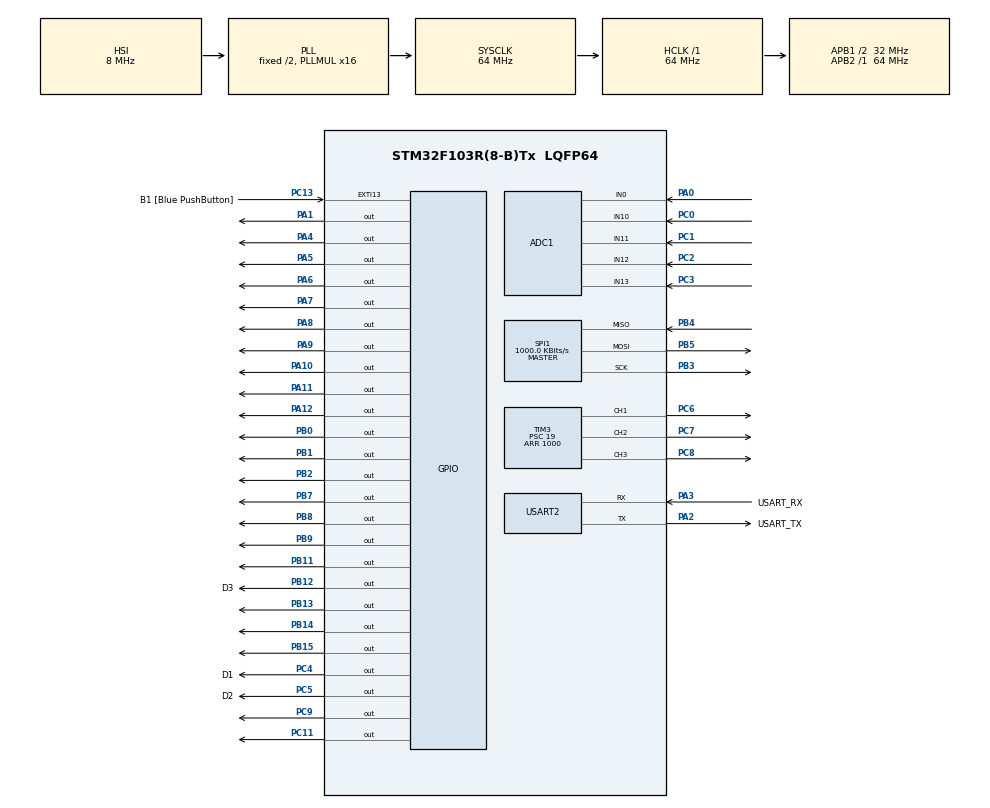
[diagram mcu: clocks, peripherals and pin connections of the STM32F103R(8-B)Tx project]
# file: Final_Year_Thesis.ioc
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ADC1.Channel-0\#ChannelRegularConversion=ADC_CHANNEL_10
ADC1.Channel-1\#ChannelRegularConversion=ADC_CHANNEL_11
ADC1.Channel-2\#ChannelRegularConversion=ADC_CHANNEL_12
ADC1.Channel-3\#ChannelRegularConversion=ADC_CHANNEL_13
ADC1.Channel-4\#ChannelRegularConversion=ADC_CHANNEL_0
ADC1.ContinuousConvMode=ENABLE
ADC1.NbrOfConversion=5
ADC1.NbrOfConversionFlag=1
ADC1.Rank-0\#ChannelRegularConversion=1
ADC1.Rank-1\#ChannelRegularConversion=2
ADC1.Rank-2\#ChannelRegularConversion=3
ADC1.Rank-3\#ChannelRegularConversion=4
ADC1.Rank-4\#ChannelRegularConversion=5
ADC1.SamplingTime-0\#ChannelRegularConversion=ADC_SAMPLETIME_1CYCLE_5
ADC1.SamplingTime-1\#ChannelRegularConversion=ADC_SAMPLETIME_1CYCLE_5
ADC1.SamplingTime-2\#ChannelRegularConversion=ADC_SAMPLETIME_1CYCLE_5
ADC1.SamplingTime-3\#ChannelRegularConversion=ADC_SAMPLETIME_1CYCLE_5
ADC1.SamplingTime-4\#ChannelRegularConversion=ADC_SAMPLETIME_1CYCLE_5
ADC1.master=1
Mcu.Family=STM32F1
Mcu.Name=STM32F103R(8-B)Tx
Mcu.Package=LQFP64
NVIC.EXTI15_10_IRQn=true\:0\:0\:false\:false\:true\:true\:true
NVIC.PriorityGroup=NVIC_PRIORITYGROUP_4
NVIC.SPI1_IRQn=true\:0\:0\:false\:false\:true\:true\:true
PA0-WKUP.Signal=ADCx_IN0
PA1.Signal=GPIO_Output
PA10.Signal=GPIO_Output
PA11.Signal=GPIO_Output
PA12.Signal=GPIO_Output
PA13.GPIO_Label=TMS
PA13.Mode=Serial_Wire
PA13.Signal=SYS_JTMS-SWDIO
PA14.GPIO_Label=TCK
PA14.Mode=Serial_Wire
PA14.Signal=SYS_JTCK-SWCLK
PA2.GPIO_Label=USART_TX
PA2.GPIO_Mode=GPIO_MODE_AF_PP
PA2.GPIO_PuPd=GPIO_NOPULL
PA2.GPIO_Speed=GPIO_SPEED_FREQ_LOW
PA2.Mode=Asynchronous
PA2.Signal=USART2_TX
PA3.GPIO_Label=USART_RX
PA3.GPIO_Mode=GPIO_MODE_AF_PP
PA3.GPIO_PuPd=GPIO_NOPULL
PA3.GPIO_Speed=GPIO_SPEED_FREQ_LOW
PA3.Mode=Asynchronous
PA3.Signal=USART2_RX
PA4.Signal=GPIO_Output
PA5.Signal=GPIO_Output
PA6.Signal=GPIO_Output
PA7.Signal=GPIO_Output
PA8.Signal=GPIO_Output
PA9.Signal=GPIO_Output
PB0.Signal=GPIO_Output
PB1.Signal=GPIO_Output
PB11.Signal=GPIO_Output
PB12.GPIO_Label=D3
PB12.Signal=GPIO_Output
PB13.Signal=GPIO_Output
PB14.Signal=GPIO_Output
PB15.Signal=GPIO_Output
PB2.Signal=GPIO_Output
PB3.Mode=Full_Duplex_Master
PB3.Signal=SPI1_SCK
PB4.Mode=Full_Duplex_Master
PB4.Signal=SPI1_MISO
PB5.Mode=Full_Duplex_Master
PB5.Signal=SPI1_MOSI
PB7.Signal=GPIO_Output
PB8.Signal=GPIO_Output
PB9.Signal=GPIO_Output
PC0.Signal=ADCx_IN10
PC1.Signal=ADCx_IN11
PC11.Signal=GPIO_Output
PC13-TAMPER-RTC.GPIO_Label=B1 [Blue PushButton]
PC13-TAMPER-RTC.GPIO_PuPd=GPIO_NOPULL
PC13-TAMPER-RTC.Signal=GPXTI13
PC14-OSC32_IN.Mode=LSE-External-Oscillator
PC14-OSC32_IN.Signal=RCC_OSC32_IN
PC15-OSC32_OUT.Mode=LSE-External-Oscillator
PC15-OSC32_OUT.Signal=RCC_OSC32_OUT
PC2.Signal=ADCx_IN12
PC3.Signal=ADCx_IN13
PC4.GPIO_Label=D1
PC4.Signal=GPIO_Output
PC5.GPIO_Label=D2
PC5.Signal=GPIO_Output
PC6.Signal=S_TIM3_CH1
PC7.Signal=S_TIM3_CH2
PC8.Signal=S_TIM3_CH3
PC9.Signal=GPIO_Output
PD0-OSC_IN.Mode=HSE-External-Clock-Source
PD0-OSC_IN.Signal=RCC_OSC_IN
PD1-OSC_OUT.Mode=HSE-External-Clock-Source
PD1-OSC_OUT.Signal=RCC_OSC_OUT
ProjectManager.HeapSize=0x200
ProjectManager.StackSize=0x400
ProjectManager.TargetToolchain=STM32CubeIDE
RCC.AHBFreq_Value=64000000
RCC.APB1CLKDivider=RCC_HCLK_DIV2
RCC.APB1Freq_Value=32000000
RCC.APB1TimFreq_Value=64000000
RCC.APB2Freq_Value=64000000
RCC.APB2TimFreq_Value=64000000
RCC.HCLKFreq_Value=64000000
RCC.PLLMUL=RCC_PLL_MUL16
RCC.RTCClockSelection=RCC_RTCCLKSOURCE_LSE
RCC.SYSCLKFreq_VALUE=64000000
RCC.SYSCLKSource=RCC_SYSCLKSOURCE_PLLCLK
RCC.USBFreq_Value=64000000
SH.ADCx_IN0.0=ADC1_IN0,IN0
SH.ADCx_IN10.0=ADC1_IN10,IN10
SH.ADCx_IN11.0=ADC1_IN11,IN11
SH.ADCx_IN12.0=ADC1_IN12,IN12
SH.ADCx_IN13.0=ADC1_IN13,IN13
SH.S_TIM3_CH1.0=TIM3_CH1,PWM Generation1 CH1
SH.S_TIM3_CH2.0=TIM3_CH2,PWM Generation2 CH2
SH.S_TIM3_CH3.0=TIM3_CH3,PWM Generation3 CH3
SPI1.BaudRatePrescaler=SPI_BAUDRATEPRESCALER_64
SPI1.CalculateBaudRate=1000.0 KBits/s
SPI1.Direction=SPI_DIRECTION_2LINES
SPI1.Mode=SPI_MODE_MASTER
SPI1.VirtualType=VM_MASTER
TIM3.Channel-PWM\ Generation1\ CH1=TIM_CHANNEL_1
TIM3.Channel-PWM\ Generation2\ CH2=TIM_CHANNEL_2
TIM3.Channel-PWM\ Generation3\ CH3=TIM_CHANNEL_3
TIM3.Period=1000
TIM3.Prescaler=19
TIM3.Pulse-PWM\ Generation1\ CH1=500
TIM3.Pulse-PWM\ Generation2\ CH2=500
TIM3.Pulse-PWM\ Generation3\ CH3=500
USART2.VirtualMode=VM_ASYNC
VP_TIM3_VS_ClockSourceINT.Mode=Internal
board=NUCLEO-F103RB

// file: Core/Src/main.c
/* USER CODE BEGIN Header */
/**
  ******************************************************************************
  * @file           : main.c
  * @brief          : Main program body
  ******************************************************************************
  * @attention
  *
  * <h2><center>&copy; Copyright (c) 2021 STMicroelectronics.
  * All rights reserved.</center></h2>
  *
  * This software component is licensed by ST under BSD 3-Clause license,
  * the "License"; You may not use this file except in compliance with the
  * License. You may obtain a copy of the License at:
  *                        opensource.org/licenses/BSD-3-Clause
  *
  ******************************************************************************
  */
/* USER CODE END Header */

#include "main.h"

/* USER CODE BEGIN Includes */
#include <stdio.h>
#include <string.h>
#include "MAX31855.h"
/* USER CODE END Includes */

ADC_HandleTypeDef hadc1;

SPI_HandleTypeDef hspi1;

TIM_HandleTypeDef htim3;

UART_HandleTypeDef huart2;

/* USER CODE BEGIN PV */
float temp1=0;	// Variable to get Temperature 1
float temp2=0;	// Variable to get Temperature 2
float temp3=0;	// Variable to get Temperature 3
float temp4=0;	// Variable to get Temperature 4
uint32_t avetemp=0; //Variable to be printed to 7-segment display
uint32_t c1, c2, c3; //temporary variables for 7-segment display
uint32_t setTemp; //user input temperature
uint8_t counter=0; //counter to set position of roller blind
/* USER CODE END PV */

void SystemClock_Config(void);
static void MX_GPIO_Init(void);
static void MX_ADC1_Init(void);
static void MX_SPI1_Init(void);
static void MX_TIM3_Init(void);
static void MX_USART2_UART_Init(void);

/* USER CODE BEGIN 0 */
#define D1_HIGH() HAL_GPIO_WritePin(D1_GPIO_Port, D1_Pin, GPIO_PIN_SET)
#define D1_LOW() HAL_GPIO_WritePin(D1_GPIO_Port, D1_Pin, GPIO_PIN_RESET)
#define D2_HIGH() HAL_GPIO_WritePin(D2_GPIO_Port, D2_Pin, GPIO_PIN_SET)
#define D2_LOW() HAL_GPIO_WritePin(D2_GPIO_Port, D2_Pin, GPIO_PIN_RESET)
#define D3_HIGH() HAL_GPIO_WritePin(D3_GPIO_Port, D3_Pin, GPIO_PIN_SET)
#define D3_LOW() HAL_GPIO_WritePin(D3_GPIO_Port, D3_Pin, GPIO_PIN_RESET)

uint8_t segmentNumber[10] = {
        0x3f,  // 0
        0x06,  // 1
        0x5b,  // 2
        0x4f,  // 3
        0x66,  // 4
        0x6d,  // 5
        0x7d,  // 6
        0x07,  // 7
        0x7f,  // 8
        0x67   // 9
};

void SevenSegment_Update(uint8_t number){
	HAL_GPIO_WritePin(GPIOA, GPIO_PIN_0, ((number>>0)&0x01));
	HAL_GPIO_WritePin(GPIOA, GPIO_PIN_1, ((number>>1)&0x01));
	HAL_GPIO_WritePin(GPIOA, GPIO_PIN_2, ((number>>2)&0x01));
	HAL_GPIO_WritePin(GPIOA, GPIO_PIN_3, ((number>>3)&0x01));
	HAL_GPIO_WritePin(GPIOA, GPIO_PIN_4, ((number>>4)&0x01));
	HAL_GPIO_WritePin(GPIOA, GPIO_PIN_5, ((number>>5)&0x01));
	HAL_GPIO_WritePin(GPIOA, GPIO_PIN_6, ((number>>6)&0x01));
};

void ADC_select_CH10(void)
{
	  ADC_ChannelConfTypeDef sConfig = {0};
	  sConfig.Channel = ADC_CHANNEL_10;
	  sConfig.Rank = ADC_REGULAR_RANK_1;
	  sConfig.SamplingTime = ADC_SAMPLETIME_1CYCLE_5;
	  if (HAL_ADC_ConfigChannel(&hadc1, &sConfig) != HAL_OK)
	  {
	    Error_Handler();
	  }
}

void ADC_select_CH11(void)
{
	ADC_ChannelConfTypeDef sConfig = {0};
	  sConfig.Channel = ADC_CHANNEL_11;
	  sConfig.Rank = ADC_REGULAR_RANK_2;
	  sConfig.SamplingTime = ADC_SAMPLETIME_1CYCLE_5;
	  if (HAL_ADC_ConfigChannel(&hadc1, &sConfig) != HAL_OK)
	  {
	    Error_Handler();
	  }
}

void ADC_select_CH12(void)
{
	ADC_ChannelConfTypeDef sConfig = {0};
	  sConfig.Channel = ADC_CHANNEL_12;
	  sConfig.Rank = ADC_REGULAR_RANK_3;
	  sConfig.SamplingTime = ADC_SAMPLETIME_1CYCLE_5;
	  if (HAL_ADC_ConfigChannel(&hadc1, &sConfig) != HAL_OK)
	  {
	    Error_Handler();
	  }

}

void ADC_select_CH13(void)
{
	ADC_ChannelConfTypeDef sConfig = {0};
	  sConfig.Channel = ADC_CHANNEL_13;
	  sConfig.Rank = ADC_REGULAR_RANK_4;
	  sConfig.SamplingTime = ADC_SAMPLETIME_1CYCLE_5;
	  if (HAL_ADC_ConfigChannel(&hadc1, &sConfig) != HAL_OK)
	  {
	    Error_Handler();
	  }
}

void ADC_select_CH0(void)
{
	ADC_ChannelConfTypeDef sConfig = {0};
	  sConfig.Channel = ADC_CHANNEL_0;
	  sConfig.Rank = ADC_REGULAR_RANK_5;
	  sConfig.SamplingTime = ADC_SAMPLETIME_1CYCLE_5;
	  if (HAL_ADC_ConfigChannel(&hadc1, &sConfig) != HAL_OK)
	  {
	    Error_Handler();
	  }
}

float ADCval[4];

/* USER CODE END 0 */

int main(void)
{
  /* USER CODE BEGIN 1 */
	  uint16_t raw;
  /* USER CODE END 1 */

  /* MCU Configuration--------------------------------------------------------*/

  /* Reset of all peripherals, Initializes the Flash interface and the Systick. */
  HAL_Init();

  /* Configure the system clock */
  SystemClock_Config();

  /* Initialize all configured peripherals */
  MX_GPIO_Init();
  MX_ADC1_Init();
  MX_SPI1_Init();
  MX_TIM3_Init();
  MX_USART2_UART_Init();
  /* USER CODE BEGIN 2 */
	HAL_TIM_Base_Start(&htim3);               //Initialize stm32 timer 3
	HAL_TIM_PWM_Start(&htim3,TIM_CHANNEL_1);  //PB0 Start pwm temp motor 100% duty cycle
	HAL_TIM_PWM_Start(&htim3,TIM_CHANNEL_2);  //PB0 Start pwm pitch motor 100% duty cycle
	HAL_TIM_PWM_Start(&htim3,TIM_CHANNEL_3);  //PB0 Start pwm azimuth motor 100% duty cycle

  /* USER CODE END 2 */

  /* Infinite loop */
  /* USER CODE BEGIN WHILE */
  while (1)
  { //-----------------------------------------------------------------------------------------read temperatures from thermocouple-------------
	  temp1=Max31855_Read_Temp1(); 			// Gets Temperature 1 from MAX31855
	  temp2=Max31855_Read_Temp2(); 			// Gets Temperature 2 from MAX31855
	  temp3=Max31855_Read_Temp3(); 			// Gets Temperature 3 from MAX31855
	  temp4=Max31855_Read_Temp4(); 			// Gets Temperature 4 from MAX31855
	  avetemp = (temp1+temp2+temp3+temp4)/4; //determine average temperature from 4 MAX31855 units to be displayed on 7-segment display
	  //--------------------------------------------------------------------------------------end read temperatures------------------------------

	  //---------------------------------------------------------------------------Display Temp on LED------------------------------
	  c1 = (avetemp/100)%10; //first digit
	  c2 = (avetemp/10)%10; //second digit
	  c3 = avetemp%10; //third digit

	  	  SevenSegment_Update(segmentNumber[c1]); //note common cathode 7-segment display therefore must pull D1, D2 and D3 from low to high to write to the display
	  	  D1_LOW();
	  	  HAL_Delay(7);
	  	  D1_HIGH();

	  	  SevenSegment_Update(segmentNumber[c2]);
	  	  D2_LOW();
	  	  HAL_Delay(7);
	  	  D2_HIGH();

	  	  SevenSegment_Update(segmentNumber[c3]);
	  	  D3_LOW();
	  	  HAL_Delay(7);
	  	  D3_HIGH();
	  //--------------------------------------------------------------------------End of LED display-------------------------------

	  //-----------------------------------------------------------------------------read user input from potentiometer------
	   ADC_select_CH10();
	   HAL_ADC_Start(&hadc1);
	   HAL_ADC_PollForConversion(&hadc1, HAL_MAX_DELAY);
	   raw = HAL_ADC_GetValue(&hadc1);
	   HAL_ADC_Stop(&hadc1);

	   //the following are the 10 temperature intervals the device can be set to by the user
	   if(raw > 0 && raw < 409.5)
	   {
		   setTemp = 45;
	   }
	   else if(raw > 409.5 && raw < 819)
	   {
		   setTemp = 60;
	   }
	   else if(raw > 819 && raw < 1228.5)
	   	   {
	   		   setTemp = 75;
	   	   }
	   else if(raw > 1228.5 && raw < 1638)
	   	   {
	   		   setTemp = 90;
	   	   }
	   else if(raw > 1638 && raw < 2047.5)
	   	   {
	   		   setTemp = 105;
	   	   }
	   else if(raw > 2047.5 && raw < 2457)
	   	   {
	   		   setTemp = 120;
	   	   }
	   else if(raw > 2457 && raw < 2866.5)
	   	   {
	   		   setTemp = 135;
	   	   }
	   else if(raw > 2866.5 && raw < 3276)
	   	   {
	   		   setTemp = 150;
	   	   }
	   else if(raw > 3276 && raw < 3685.5)
	   	   {
	   		   setTemp = 165;
	   	   }
	   else if(raw > 3685.5 && raw < 4095)
	   	   {
	   		   setTemp = 180;
	   	   }
	  //----------------------------------------------------------------------------------end user input----------------

	   //---------------------------------------------------------------------------------get tracking value-------------------------------
	   	   ADC_select_CH11(); //upper right LDR
	   	   HAL_ADC_Start(&hadc1);
	   	   HAL_ADC_PollForConversion(&hadc1, HAL_MAX_DELAY);
	   	   ADCval[0] = HAL_ADC_GetValue(&hadc1);
	   	   HAL_ADC_Stop(&hadc1);

	   	   ADC_select_CH12(); //upper left LDR
	   	   HAL_ADC_Start(&hadc1);
	   	   HAL_ADC_PollForConversion(&hadc1, HAL_MAX_DELAY);
	   	   ADCval[1] = HAL_ADC_GetValue(&hadc1);
	   	   HAL_ADC_Stop(&hadc1);

	   		ADC_select_CH13(); //lower right LDR
	   		HAL_ADC_Start(&hadc1);
	   		HAL_ADC_PollForConversion(&hadc1, HAL_MAX_DELAY);
	   		ADCval[2] = HAL_ADC_GetValue(&hadc1);
	   		HAL_ADC_Stop(&hadc1);

	   		ADC_select_CH0(); //lower left LDR
	   		HAL_ADC_Start(&hadc1);
	   		HAL_ADC_PollForConversion(&hadc1, HAL_MAX_DELAY);
	   		ADCval[3] = HAL_ADC_GetValue(&hadc1);
	   		HAL_ADC_Stop(&hadc1);

	   		if(ADCval[0] > 1000) //--------------------------- //upper right is in shadow therefore move down and/or left
	   		{
	   			if(ADCval[1] > 1000) //both upper LDRs in shadow therefore tilt down
	   			{
	   				__HAL_TIM_SET_COMPARE(&htim3,TIM_CHANNEL_2,25); //Second motor 25% voltage
		   			 HAL_GPIO_WritePin(GPIOA,GPIO_PIN_10,GPIO_PIN_RESET);   // Start pitch motor clock wise rotation
		   			 HAL_GPIO_WritePin(GPIOA,GPIO_PIN_9,GPIO_PIN_SET); // Start pitch motor clock wise rotation
		   			HAL_Delay(500);
		   			HAL_GPIO_WritePin(GPIOA,GPIO_PIN_9,GPIO_PIN_RESET); // Stop pitch motor clock wise rotation
	   			}

	   			else if(ADCVal[2] > 1000) //both right are in shadow therefore move left
	   			{
	   				__HAL_TIM_SET_COMPARE(&htim3,TIM_CHANNEL_3,25); //Second motor 25% voltage
		   			 HAL_GPIO_WritePin(GPIOA,GPIO_PIN_12,GPIO_PIN_RESET);   // Start azimuth motor clock wise rotation
		   			 HAL_GPIO_WritePin(GPIOA,GPIO_PIN_11,GPIO_PIN_SET); // Start azimuth motor clock wise rotation
		   			HAL_Delay(500);
		   			HAL_GPIO_WritePin(GPIOA,GPIO_PIN_11,GPIO_PIN_RESET); // Stop azimuth motor clock wise rotation
	   			}
	   		}

	   		if(ADCval[1] > 1000) //---------------------------------//upper left is in shadow therefore move down and/or right
	   		{
	   			if(ADCval[0] > 1000) //both upper LDRs in shadow therefore tilt down
	   			{
	   				__HAL_TIM_SET_COMPARE(&htim3,TIM_CHANNEL_2,25); //Second motor 25% voltage
		   			 HAL_GPIO_WritePin(GPIOA,GPIO_PIN_10,GPIO_PIN_RESET);   // Start pitch motor clock wise rotation
		   			 HAL_GPIO_WritePin(GPIOA,GPIO_PIN_9,GPIO_PIN_SET); // Start pitch motor clock wise rotation
		   			HAL_Delay(500);
		   			HAL_GPIO_WritePin(GPIOA,GPIO_PIN_9,GPIO_PIN_RESET); // Stop pitch motor clock wise rotation
	   			}

	   			else if(ADCVal[3] > 1000) //both left are in shadow therefore move left
	   			{
	   				__HAL_TIM_SET_COMPARE(&htim3,TIM_CHANNEL_3,25); //Second motor 25% voltage
		   			 HAL_GPIO_WritePin(GPIOA,GPIO_PIN_12,GPIO_PIN_RESET);   // Start azimuth motor clock wise rotation
		   			 HAL_GPIO_WritePin(GPIOA,GPIO_PIN_11,GPIO_PIN_SET); // Start azimuth motor clock wise rotation
			   			HAL_Delay(500);
			   			HAL_GPIO_WritePin(GPIOA,GPIO_PIN_11,GPIO_PIN_RESET); // Stop azimuth motor clock wise rotation
	   			}
	   		}

	   		if(ADCval[2] > 1000) //---------------------------------//lower right is in shadow therefore move up and/or left
	   		{
	   			if(ADCval[0] > 1000) //both right in shadow therefore move left
	   			{
	   				__HAL_TIM_SET_COMPARE(&htim3,TIM_CHANNEL_3,25); //Second motor 25% voltage
		   			 HAL_GPIO_WritePin(GPIOA,GPIO_PIN_12,GPIO_PIN_RESET);   // Start azimuth motor clock wise rotation
		   			 HAL_GPIO_WritePin(GPIOA,GPIO_PIN_11,GPIO_PIN_SET); // Start azimuth motor clock wise rotation
			   			HAL_Delay(500);
			   			HAL_GPIO_WritePin(GPIOA,GPIO_PIN_11,GPIO_PIN_RESET); // Stop azimuth motor clock wise rotation
	   			}

	   			else if(ADCVal[2] > 1000) //both lower are in shadow therefore move up
	   			{
	   				__HAL_TIM_SET_COMPARE(&htim3,TIM_CHANNEL_2,25); //Second motor 25% voltage
		   			 HAL_GPIO_WritePin(GPIOA,GPIO_PIN_10,GPIO_PIN_SET);   // Start pitch motor clock wise rotation
		   			 HAL_GPIO_WritePin(GPIOA,GPIO_PIN_9,GPIO_PIN_RESET); // Start pitch motor clock wise rotation
			   			HAL_Delay(500);
			   			HAL_GPIO_WritePin(GPIOA,GPIO_PIN_9,GPIO_PIN_RESET); // Stop pitch motor clock wise rotation
	   			}
	   		}

	   		if(ADCval[3] > 1000) //---------------------------------//lower left is in shadow therefore move up and/or right
	   		{
	   			if(ADCval[1] > 1000) //both left in shadow therefore move right
	   			{
		   			 HAL_GPIO_WritePin(GPIOA,GPIO_PIN_12,GPIO_PIN_SET);   // Start azimuth motor counter clock wise rotation
		   			 HAL_GPIO_WritePin(GPIOA,GPIO_PIN_11,GPIO_PIN_RESET); // Start azimuth motor counter clock wise rotation
		   			HAL_Delay(500);
		   			HAL_GPIO_WritePin(GPIOA,GPIO_PIN_12,GPIO_PIN_RESET);   // Stop azimuth motor counter clock wise rotation
	   			}

	   			else if(ADCVal[2] > 1000) //both lower are in shadow therefore move up
	   			{
		   			 HAL_GPIO_WritePin(GPIOA,GPIO_PIN_10,GPIO_PIN_SET);   // Start pitch motor counter clock wise rotation
		   			 HAL_GPIO_WritePin(GPIOA,GPIO_PIN_9,GPIO_PIN_RESET); // Start pitch motor counter clock wise rotation
			   		HAL_Delay(500);
			   		HAL_GPIO_WritePin(GPIOA,GPIO_PIN_10,GPIO_PIN_RESET); // Stop pitch motor counter clock wise rotation
	   			}
	   		}

	   //---------------------------------------------------------------------------------temperature control motor-----------------
	   if(avetemp = setTemp-3) //temperature reaches lower bound
	   {
 			 HAL_GPIO_WritePin(GPIOA,GPIO_PIN_8,GPIO_PIN_RESET);   // Start temp motor CCW rotation
 			 HAL_GPIO_WritePin(GPIOC,GPIO_PIN_9,GPIO_PIN_SET); // Start temp motor CCW rotation
 			 HAL_Delay(20000);
 			HAL_GPIO_WritePin(GPIOC,GPIO_PIN_9,GPIO_PIN_RESET);   // Stop temp motor CCW rotation
 			 counter = 1; //say that blind is halfway down
	   }

	   else if(avetemp = setTemp+3 && counter != 2) //temperature reaches upper bound
	   {
 			 HAL_GPIO_WritePin(GPIOA,GPIO_PIN_8,GPIO_PIN_RESET);   // Start temp motor CCW rotation
 			 HAL_GPIO_WritePin(GPIOC,GPIO_PIN_9,GPIO_PIN_SET); // Start temp motor CCW rotation
 			 HAL_Delay(20000);
 			HAL_GPIO_WritePin(GPIOC,GPIO_PIN_9,GPIO_PIN_RESET);   // Stop temp motor CCW rotation
 			 counter = 2; //say that blind is at the bottom
	   }
	   else if(avetemp < setTemp-3 && counter != 0)
	   {
			 HAL_GPIO_WritePin(GPIOA,GPIO_PIN_8,GPIO_PIN_SET);   // Start temp motor CW rotation
			 HAL_GPIO_WritePin(GPIOC,GPIO_PIN_9,GPIO_PIN_RESET); // Start temp motor CW rotation
			 HAL_Delay(40000);
			 HAL_GPIO_WritePin(GPIOA,GPIO_PIN_8,GPIO_PIN_RESET); // Stop temp motor CW rotation
	   }
	   //----------------------------------------------------------------------------------end of temperature control motor--------------

    /* USER CODE END WHILE */

  }
}

void SystemClock_Config(void)
{
  RCC_OscInitTypeDef RCC_OscInitStruct = {0};
  RCC_ClkInitTypeDef RCC_ClkInitStruct = {0};
  RCC_PeriphCLKInitTypeDef PeriphClkInit = {0};

  /** Initializes the CPU, AHB and APB busses clocks
  */
  RCC_OscInitStruct.OscillatorType = RCC_OSCILLATORTYPE_HSI;
  RCC_OscInitStruct.HSIState = RCC_HSI_ON;
  RCC_OscInitStruct.HSICalibrationValue = RCC_HSICALIBRATION_DEFAULT;
  RCC_OscInitStruct.PLL.PLLState = RCC_PLL_ON;
  RCC_OscInitStruct.PLL.PLLSource = RCC_PLLSOURCE_HSI_DIV2;
  RCC_OscInitStruct.PLL.PLLMUL = RCC_PLL_MUL16;
  if (HAL_RCC_OscConfig(&RCC_OscInitStruct) != HAL_OK)
  {
    Error_Handler();
  }
  /** Initializes the CPU, AHB and APB busses clocks
  */
  RCC_ClkInitStruct.ClockType = RCC_CLOCKTYPE_HCLK|RCC_CLOCKTYPE_SYSCLK
                              |RCC_CLOCKTYPE_PCLK1|RCC_CLOCKTYPE_PCLK2;
  RCC_ClkInitStruct.SYSCLKSource = RCC_SYSCLKSOURCE_PLLCLK;
  RCC_ClkInitStruct.AHBCLKDivider = RCC_SYSCLK_DIV1;
  RCC_ClkInitStruct.APB1CLKDivider = RCC_HCLK_DIV2;
  RCC_ClkInitStruct.APB2CLKDivider = RCC_HCLK_DIV1;

  if (HAL_RCC_ClockConfig(&RCC_ClkInitStruct, FLASH_LATENCY_2) != HAL_OK)
  {
    Error_Handler();
  }
  PeriphClkInit.PeriphClockSelection = RCC_PERIPHCLK_ADC;
  PeriphClkInit.AdcClockSelection = RCC_ADCPCLK2_DIV2;
  if (HAL_RCCEx_PeriphCLKConfig(&PeriphClkInit) != HAL_OK)
  {
    Error_Handler();
  }
}

static void MX_ADC1_Init(void)
{

  ADC_ChannelConfTypeDef sConfig = {0};

  /** Common config
  */
  hadc1.Instance = ADC1;
  hadc1.Init.ScanConvMode = ADC_SCAN_ENABLE;
  hadc1.Init.ContinuousConvMode = ENABLE;
  hadc1.Init.DiscontinuousConvMode = DISABLE;
  hadc1.Init.ExternalTrigConv = ADC_SOFTWARE_START;
  hadc1.Init.DataAlign = ADC_DATAALIGN_RIGHT;
  hadc1.Init.NbrOfConversion = 5;
  if (HAL_ADC_Init(&hadc1) != HAL_OK)
  {
    Error_Handler();
  }
  /** Configure Regular Channel
  */
  sConfig.Channel = ADC_CHANNEL_10;
  sConfig.Rank = ADC_REGULAR_RANK_1;
  sConfig.SamplingTime = ADC_SAMPLETIME_1CYCLE_5;
  if (HAL_ADC_ConfigChannel(&hadc1, &sConfig) != HAL_OK)
  {
    Error_Handler();
  }
  /** Configure Regular Channel
  */
  sConfig.Channel = ADC_CHANNEL_11;
  sConfig.Rank = ADC_REGULAR_RANK_2;
  if (HAL_ADC_ConfigChannel(&hadc1, &sConfig) != HAL_OK)
  {
    Error_Handler();
  }
  /** Configure Regular Channel
  */
  sConfig.Channel = ADC_CHANNEL_12;
  sConfig.Rank = ADC_REGULAR_RANK_3;
  if (HAL_ADC_ConfigChannel(&hadc1, &sConfig) != HAL_OK)
  {
    Error_Handler();
  }
  /** Configure Regular Channel
  */
  sConfig.Channel = ADC_CHANNEL_13;
  sConfig.Rank = ADC_REGULAR_RANK_4;
  if (HAL_ADC_ConfigChannel(&hadc1, &sConfig) != HAL_OK)
  {
    Error_Handler();
  }
  /** Configure Regular Channel
  */
  sConfig.Channel = ADC_CHANNEL_0;
  sConfig.Rank = ADC_REGULAR_RANK_5;
  if (HAL_ADC_ConfigChannel(&hadc1, &sConfig) != HAL_OK)
  {
    Error_Handler();
  }

}

static void MX_SPI1_Init(void)
{

  /* SPI1 parameter configuration*/
  hspi1.Instance = SPI1;
  hspi1.Init.Mode = SPI_MODE_MASTER;
  hspi1.Init.Direction = SPI_DIRECTION_2LINES;
  hspi1.Init.DataSize = SPI_DATASIZE_8BIT;
  hspi1.Init.CLKPolarity = SPI_POLARITY_LOW;
  hspi1.Init.CLKPhase = SPI_PHASE_1EDGE;
  hspi1.Init.NSS = SPI_NSS_SOFT;
  hspi1.Init.BaudRatePrescaler = SPI_BAUDRATEPRESCALER_64;
  hspi1.Init.FirstBit = SPI_FIRSTBIT_MSB;
  hspi1.Init.TIMode = SPI_TIMODE_DISABLE;
  hspi1.Init.CRCCalculation = SPI_CRCCALCULATION_DISABLE;
  hspi1.Init.CRCPolynomial = 10;
  if (HAL_SPI_Init(&hspi1) != HAL_OK)
  {
    Error_Handler();
  }

}

static void MX_TIM3_Init(void)
{

  TIM_ClockConfigTypeDef sClockSourceConfig = {0};
  TIM_MasterConfigTypeDef sMasterConfig = {0};
  TIM_OC_InitTypeDef sConfigOC = {0};

  htim3.Instance = TIM3;
  htim3.Init.Prescaler = 19;
  htim3.Init.CounterMode = TIM_COUNTERMODE_UP;
  htim3.Init.Period = 1000;
  htim3.Init.ClockDivision = TIM_CLOCKDIVISION_DIV1;
  htim3.Init.AutoReloadPreload = TIM_AUTORELOAD_PRELOAD_DISABLE;
  if (HAL_TIM_Base_Init(&htim3) != HAL_OK)
  {
    Error_Handler();
  }
  sClockSourceConfig.ClockSource = TIM_CLOCKSOURCE_INTERNAL;
  if (HAL_TIM_ConfigClockSource(&htim3, &sClockSourceConfig) != HAL_OK)
  {
    Error_Handler();
  }
  if (HAL_TIM_PWM_Init(&htim3) != HAL_OK)
  {
    Error_Handler();
  }
  sMasterConfig.MasterOutputTrigger = TIM_TRGO_RESET;
  sMasterConfig.MasterSlaveMode = TIM_MASTERSLAVEMODE_DISABLE;
  if (HAL_TIMEx_MasterConfigSynchronization(&htim3, &sMasterConfig) != HAL_OK)
  {
    Error_Handler();
  }
  sConfigOC.OCMode = TIM_OCMODE_PWM1;
  sConfigOC.Pulse = 500;
  sConfigOC.OCPolarity = TIM_OCPOLARITY_HIGH;
  sConfigOC.OCFastMode = TIM_OCFAST_DISABLE;
  if (HAL_TIM_PWM_ConfigChannel(&htim3, &sConfigOC, TIM_CHANNEL_1) != HAL_OK)
  {
    Error_Handler();
  }
  if (HAL_TIM_PWM_ConfigChannel(&htim3, &sConfigOC, TIM_CHANNEL_2) != HAL_OK)
  {
    Error_Handler();
  }
  if (HAL_TIM_PWM_ConfigChannel(&htim3, &sConfigOC, TIM_CHANNEL_3) != HAL_OK)
  {
    Error_Handler();
  }
  HAL_TIM_MspPostInit(&htim3);

}

static void MX_USART2_UART_Init(void)
{

  huart2.Instance = USART2;
  huart2.Init.BaudRate = 115200;
  huart2.Init.WordLength = UART_WORDLENGTH_8B;
  huart2.Init.StopBits = UART_STOPBITS_1;
  huart2.Init.Parity = UART_PARITY_NONE;
  huart2.Init.Mode = UART_MODE_TX_RX;
  huart2.Init.HwFlowCtl = UART_HWCONTROL_NONE;
  huart2.Init.OverSampling = UART_OVERSAMPLING_16;
  if (HAL_UART_Init(&huart2) != HAL_OK)
  {
    Error_Handler();
  }

}

static void MX_GPIO_Init(void)
{
  GPIO_InitTypeDef GPIO_InitStruct = {0};

  /* GPIO Ports Clock Enable */
  __HAL_RCC_GPIOC_CLK_ENABLE();
  __HAL_RCC_GPIOD_CLK_ENABLE();
  __HAL_RCC_GPIOA_CLK_ENABLE();
  __HAL_RCC_GPIOB_CLK_ENABLE();

  /*Configure GPIO pin Output Level */
  HAL_GPIO_WritePin(GPIOA, GPIO_PIN_1|GPIO_PIN_4|GPIO_PIN_5|GPIO_PIN_6
                          |GPIO_PIN_7|GPIO_PIN_8|GPIO_PIN_9|GPIO_PIN_10
                          |GPIO_PIN_11|GPIO_PIN_12, GPIO_PIN_RESET);

  /*Configure GPIO pin Output Level */
  HAL_GPIO_WritePin(GPIOC, D1_Pin|D2_Pin|GPIO_PIN_9|GPIO_PIN_11, GPIO_PIN_RESET);

  /*Configure GPIO pin Output Level */
  HAL_GPIO_WritePin(GPIOB, GPIO_PIN_0|GPIO_PIN_1|GPIO_PIN_2|GPIO_PIN_11
                          |D3_Pin|GPIO_PIN_13|GPIO_PIN_14|GPIO_PIN_15
                          |GPIO_PIN_7|GPIO_PIN_8|GPIO_PIN_9, GPIO_PIN_RESET);

  /*Configure GPIO pin : B1_Pin */
  GPIO_InitStruct.Pin = B1_Pin;
  GPIO_InitStruct.Mode = GPIO_MODE_IT_RISING;
  GPIO_InitStruct.Pull = GPIO_NOPULL;
  HAL_GPIO_Init(B1_GPIO_Port, &GPIO_InitStruct);

  /*Configure GPIO pins : PA1 PA4 PA5 PA6
                           PA7 PA8 PA9 PA10
                           PA11 PA12 */
  GPIO_InitStruct.Pin = GPIO_PIN_1|GPIO_PIN_4|GPIO_PIN_5|GPIO_PIN_6
                          |GPIO_PIN_7|GPIO_PIN_8|GPIO_PIN_9|GPIO_PIN_10
                          |GPIO_PIN_11|GPIO_PIN_12;
  GPIO_InitStruct.Mode = GPIO_MODE_OUTPUT_PP;
  GPIO_InitStruct.Pull = GPIO_NOPULL;
  GPIO_InitStruct.Speed = GPIO_SPEED_FREQ_LOW;
  HAL_GPIO_Init(GPIOA, &GPIO_InitStruct);

  /*Configure GPIO pins : D1_Pin D2_Pin PC9 PC11 */
  GPIO_InitStruct.Pin = D1_Pin|D2_Pin|GPIO_PIN_9|GPIO_PIN_11;
  GPIO_InitStruct.Mode = GPIO_MODE_OUTPUT_PP;
  GPIO_InitStruct.Pull = GPIO_NOPULL;
  GPIO_InitStruct.Speed = GPIO_SPEED_FREQ_LOW;
  HAL_GPIO_Init(GPIOC, &GPIO_InitStruct);

  /*Configure GPIO pins : PB0 PB1 PB2 PB11
                           D3_Pin PB13 PB14 PB15
                           PB7 PB8 PB9 */
  GPIO_InitStruct.Pin = GPIO_PIN_0|GPIO_PIN_1|GPIO_PIN_2|GPIO_PIN_11
                          |D3_Pin|GPIO_PIN_13|GPIO_PIN_14|GPIO_PIN_15
                          |GPIO_PIN_7|GPIO_PIN_8|GPIO_PIN_9;
  GPIO_InitStruct.Mode = GPIO_MODE_OUTPUT_PP;
  GPIO_InitStruct.Pull = GPIO_NOPULL;
  GPIO_InitStruct.Speed = GPIO_SPEED_FREQ_LOW;
  HAL_GPIO_Init(GPIOB, &GPIO_InitStruct);

  /* EXTI interrupt init*/
  HAL_NVIC_SetPriority(EXTI15_10_IRQn, 0, 0);
  HAL_NVIC_EnableIRQ(EXTI15_10_IRQn);

}

void Error_Handler(void)
{
}

/************************ (C) COPYRIGHT STMicroelectronics *****END OF FILE****/
